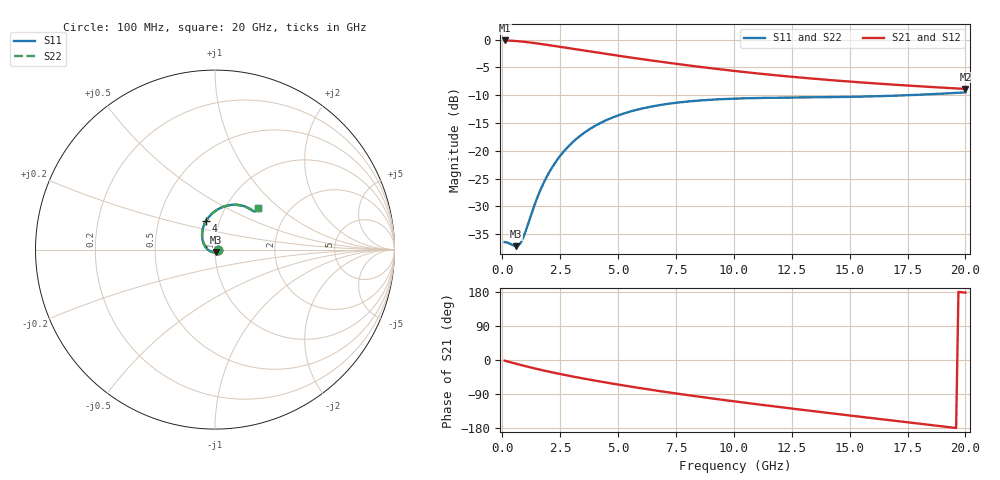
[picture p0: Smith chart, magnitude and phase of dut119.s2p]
! Touchstone file exported from HFSS 2024.1.0
!  File:  C:/UserFiles/LocalFiles/RDL_TSV_Batchsim/temp_RDL_TSV_119_1779424136.aedt
!  Generated:  12:45:18 PM May 22, 2026
!  Design:  RDL_TSV
!  Project:  temp_RDL_TSV_119_1779424136
!  Setup:  Setup1
!  Solution:  Sweep
! Variables:
!  dtsv = 10.61um
!  hbump = 3um
!  htsv = 99.81um
!  ldown = 230.28um
!  lrdl = 354.27um
!  p = 40
!  p1 = 44.78um
!  rhole = 10um
!  subl = 2107.92um
!  t = 450um
!  tdown = 2.25um
!  trdl = 4.57um
!  viad = 10um
!  wdown = 27.98um
!  wrdl = 10.32um
!  xbump = 18um
# GHz S MA R 50.000000
! Terminal data exported
! Port[1] = TM1_1_T1
! Port[2] = TM1_4_T1
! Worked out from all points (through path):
!   200 points, 100 MHz to 20 GHz, reference 50 ohm
!   highest |S21| = -0.14 dB at 100 MHz (marker M1); lowest = -8.9 dB at 20 GHz (marker M2)
!   group delay of S21, straight-line fit = 23.8 ps
!   lowest |S11| = -37.2 dB at 600 MHz (marker M3), VSWR 1.03, Z = 50.5 - j1.3 ohm
!   |S11| at or under -10 dB: start of sweep to 17.46 GHz
!   |S22| runs from -37.2 to -9.5 dB; largest |S21 - S12| = 1.8e-14
!   S11 on the Smith chart (normalised r, x): 100 MHz: 1.03, -0.00; 4 GHz: 0.86, +0.28; 20 GHz: 1.41, +0.74
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0.1  0.01508 -8.7  0.9844 -1.7  0.9844 -1.7  0.01508 -8.7
! Gamma 0 0 0 0
! Port Impedance 50 0 50 0
0.6  0.01385 -68.4  0.9723 -10.0  0.9723 -10.0  0.01387 -68.3
0.7  0.01409 -84.5  0.9684 -11.6  0.9684 -11.6  0.01411 -84.5
0.8  0.01492 -101.0  0.9641 -13.2  0.9641 -13.2  0.01493 -100.9
0.9  0.01645 -116.8  0.9595 -14.8  0.9595 -14.8  0.01645 -116.7
1.4  0.0329 -170.2  0.9321 -22.3  0.9321 -22.3  0.03284 -170.1
1.6  0.0421 177.1  0.9197 -25.1  0.9197 -25.1  0.04201 177.2
1.8  0.0521 166.8  0.907 -27.9  0.907 -27.9  0.05199 166.9
2.1  0.06805 154.3  0.8876 -31.9  0.8876 -31.9  0.0679 154.3
2.7  0.1011 135.2  0.8489 -39.5  0.8489 -39.5  0.1009 135.3
3.1  0.1227 125.2  0.824 -44.3  0.824 -44.3  0.1224 125.2
3.5  0.1434 116.6  0.8 -48.8  0.8 -48.8  0.143 116.6
4  0.1673 107.3  0.7713 -54.4  0.7713 -54.4  0.1669 107.3
5.2  0.215 89.7  0.7081 -66.8  0.7081 -66.8  0.2144 89.7
6.8  0.2579 73.0  0.635 -82.0  0.635 -82.0  0.2571 73.0
8.4  0.2824 61.6  0.5739 -96.0  0.5739 -96.0  0.2814 61.6
10.1  0.2951 53.3  0.5211 -109.8  0.5211 -109.8  0.2941 53.3
11.7  0.3002 48.3  0.4809 -122.1  0.4809 -122.1  0.2991 48.3
13.4  0.3029 45.2  0.4464 -134.8  0.4464 -134.8  0.3017 45.3
15  0.306 43.9  0.4198 -146.4  0.4198 -146.4  0.3049 44.0
16.7  0.3122 43.6  0.3964 -158.7  0.3964 -158.7  0.3111 43.7
20  0.3356 43.8  0.3604 177.7  0.3604 177.7  0.3348 44.0
